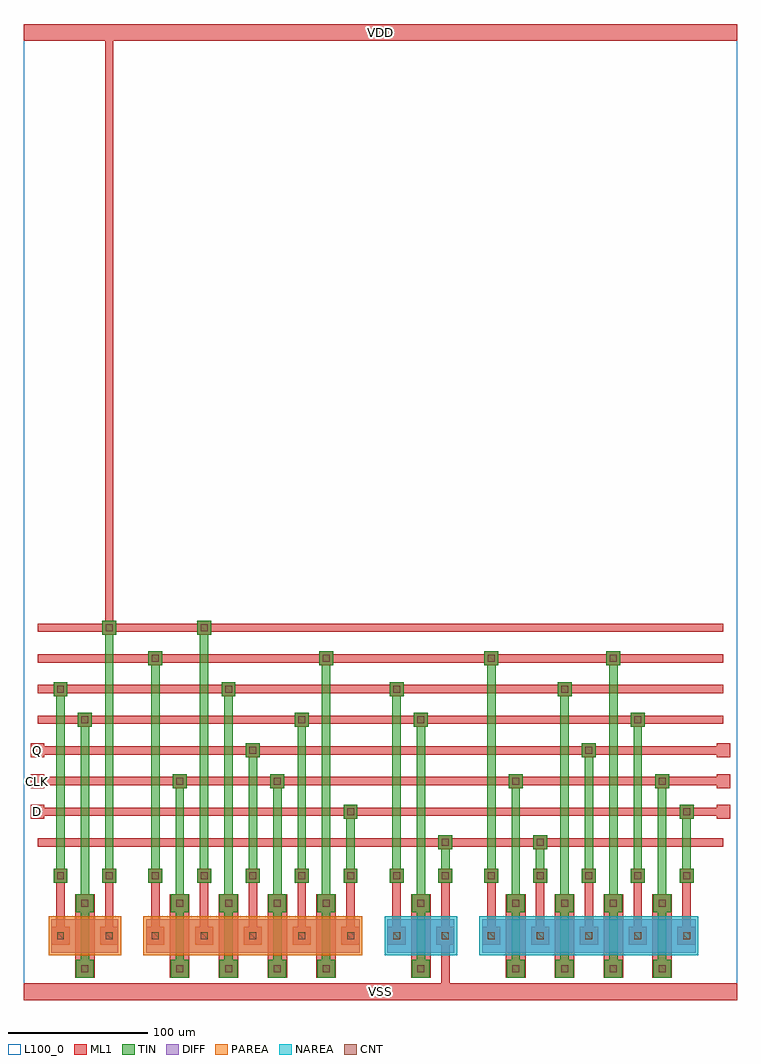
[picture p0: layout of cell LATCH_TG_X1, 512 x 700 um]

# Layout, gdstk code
import gdstk
lib = gdstk.Library(unit=1e-6, precision=1e-09)
def R(c, l, rs):  # rectangles x0, y0, x1, y1
    for r in rs: c.add(gdstk.rectangle(r[:2], r[2:], *l))
def A(c, l, x, y, w, h, nx, ny, dx, dy):  # array of equal rectangles
    R(c, l, [(x+i*dx, y+j*dy, x+i*dx+w, y+j*dy+h) for i in range(nx) for j in range(ny)])
DIFF = (3, 0)
TIN = (5, 0)
CNT = (7, 0)
ML1 = (8, 0)
PAREA = (18, 0)
NAREA = (19, 0)
L100_0 = (100, 0)

latch_tg_x1 = lib.new_cell('LATCH_TG_X1')
R(latch_tg_x1, DIFF, [(20,34,68,58), (88,34,241,58), (261,34,309,58), (329,34,482,58)])
A(latch_tg_x1, TIN, 105.5, 16, 13, 13, 4, 2, 35, 47)
A(latch_tg_x1, TIN, 346.5, 16, 13, 13, 4, 2, 35, 47)
A(latch_tg_x1, TIN, 109, 28, 6, 37.5, 4, 1, 35, 0)
A(latch_tg_x1, TIN, 350, 28, 6, 37.5, 4, 1, 35, 0)
A(latch_tg_x1, TIN, 89.5, 84, 10, 10, 5, 1, 35, 0)
A(latch_tg_x1, TIN, 330.5, 84, 10, 10, 5, 1, 35, 0)
A(latch_tg_x1, TIN, 21.5, 218, 10, 10, 4, 1, 120.5, 0)
R(latch_tg_x1, TIN, [(37.5,16,50.5,29), (278.5,16,291.5,29), (41,28,47,65.5), (282,28,288,65.5), (37.5,63,50.5,76), (278.5,63,291.5,76), (41,69.5,47,201), (109,69.5,115,157), (144,69.5,150,223), (179,69.5,185,157), (214,69.5,220,245), (282,69.5,288,201), (350,69.5,356,157), (385,69.5,391,223), (420,69.5,426,245), (455,69.5,461,157), (21.5,84,31.5,94), (56.5,84,66.5,94), (262.5,84,272.5,94), (297.5,84,307.5,94), (23.5,89,29.5,223), (58.5,89,64.5,267), (91.5,89,97.5,245), (126.5,89,132.5,267), (161.5,89,167.5,179), (196.5,89,202.5,201), (231.5,89,237.5,135), (264.5,89,270.5,223), (299.5,89,305.5,113), (332.5,89,338.5,245), (367.5,89,373.5,113), (402.5,89,408.5,179), (437.5,89,443.5,201), (472.5,89,478.5,135), (297.5,108,307.5,118), (365.5,108,375.5,118), (229.5,130,239.5,140), (470.5,130,480.5,140), (107,152,117,162), (177,152,187,162), (348,152,358,162), (453,152,463,162), (159.5,174,169.5,184), (400.5,174,410.5,184), (39,196,49,206), (194.5,196,204.5,206), (280,196,290,206), (435.5,196,445.5,206), (89.5,240,99.5,250), (212,240,222,250), (330.5,240,340.5,250), (418,240,428,250), (56.5,262,66.5,272), (124.5,262,134.5,272)])
A(latch_tg_x1, CNT, 109.5, 20, 5, 5, 4, 2, 35, 47)
A(latch_tg_x1, CNT, 350.5, 20, 5, 5, 4, 2, 35, 47)
A(latch_tg_x1, CNT, 92, 43.5, 5, 5, 5, 2, 35, 43)
A(latch_tg_x1, CNT, 333, 43.5, 5, 5, 5, 2, 35, 43)
A(latch_tg_x1, CNT, 24, 220.5, 5, 5, 4, 1, 120.5, 0)
R(latch_tg_x1, CNT, [(41.5,20,46.5,25), (282.5,20,287.5,25), (24,43.5,29,48.5), (59,43.5,64,48.5), (265,43.5,270,48.5), (300,43.5,305,48.5), (41.5,67,46.5,72), (282.5,67,287.5,72), (24,86.5,29,91.5), (59,86.5,64,91.5), (265,86.5,270,91.5), (300,86.5,305,91.5), (300,110.5,305,115.5), (368,110.5,373,115.5), (232,132.5,237,137.5), (473,132.5,478,137.5), (109.5,154.5,114.5,159.5), (179.5,154.5,184.5,159.5), (350.5,154.5,355.5,159.5), (455.5,154.5,460.5,159.5), (162,176.5,167,181.5), (403,176.5,408,181.5), (41.5,198.5,46.5,203.5), (197,198.5,202,203.5), (282.5,198.5,287.5,203.5), (438,198.5,443,203.5), (92,242.5,97,247.5), (214.5,242.5,219.5,247.5), (333,242.5,338,247.5), (420.5,242.5,425.5,247.5), (59,264.5,64,269.5), (127,264.5,132,269.5)])
A(latch_tg_x1, ML1, 105, 16, 14, 60, 4, 1, 35, 0)
A(latch_tg_x1, ML1, 105.5, 16, 13, 13, 4, 2, 35, 47)
A(latch_tg_x1, ML1, 346, 16, 14, 60, 4, 1, 35, 0)
A(latch_tg_x1, ML1, 346.5, 16, 13, 13, 4, 2, 35, 47)
A(latch_tg_x1, ML1, 88, 39.5, 13, 13, 5, 1, 35, 0)
A(latch_tg_x1, ML1, 329, 39.5, 13, 13, 5, 1, 35, 0)
A(latch_tg_x1, ML1, 91.5, 46, 6, 43, 5, 1, 35, 0)
A(latch_tg_x1, ML1, 332.5, 46, 6, 43, 5, 1, 35, 0)
A(latch_tg_x1, ML1, 89.5, 84, 10, 10, 5, 1, 35, 0)
A(latch_tg_x1, ML1, 330.5, 84, 10, 10, 5, 1, 35, 0)
A(latch_tg_x1, ML1, 10, 110, 492, 6, 1, 8, 0, 22)
A(latch_tg_x1, ML1, 5, 130, 10, 10, 1, 3, 0, 22)
A(latch_tg_x1, ML1, 497, 130, 10, 10, 1, 3, 0, 22)
A(latch_tg_x1, ML1, 21.5, 218, 10, 10, 4, 1, 120.5, 0)
R(latch_tg_x1, ML1, [(0,0,512,12), (299.5,3,305.5,92), (37,16,51,76), (37.5,16,50.5,29), (278,16,292,76), (278.5,16,291.5,29), (20,39.5,33,52.5), (55,39.5,68,52.5), (261,39.5,274,52.5), (296,39.5,309,52.5), (23.5,46,29.5,89), (58.5,46,64.5,89), (264.5,46,270.5,89), (299.5,46,305.5,89), (37.5,63,50.5,76), (278.5,63,291.5,76), (21.5,84,31.5,94), (56.5,84,66.5,94), (262.5,84,272.5,94), (297.5,84,307.5,94), (297.5,108,307.5,118), (365.5,108,375.5,118), (229.5,130,239.5,140), (470.5,130,480.5,140), (107,152,117,162), (177,152,187,162), (348,152,358,162), (453,152,463,162), (159.5,174,169.5,184), (400.5,174,410.5,184), (39,196,49,206), (194.5,196,204.5,206), (280,196,290,206), (435.5,196,445.5,206), (89.5,240,99.5,250), (212,240,222,250), (330.5,240,340.5,250), (418,240,428,250), (56.5,262,66.5,272), (124.5,262,134.5,272), (58.5,264,64.5,697), (0,688,512,700)])
R(latch_tg_x1, PAREA, [(18,32,70,60), (86,32,243,60)])
R(latch_tg_x1, NAREA, [(259,32,311,60), (327,32,484,60)])
R(latch_tg_x1, L100_0, [(0,0,512,700)])
latch_tg_x1.add(gdstk.Label('D', (10,135), layer=13, texttype=0))
latch_tg_x1.add(gdstk.Label('CLK', (10,157), layer=13, texttype=0))
latch_tg_x1.add(gdstk.Label('Q', (10,179), layer=13, texttype=0))
latch_tg_x1.add(gdstk.Label('VDD', (256,694), layer=13, texttype=0))
latch_tg_x1.add(gdstk.Label('VSS', (256,6), layer=13, texttype=0))

lib.write_gds('LATCH_TG_X1.gds')
